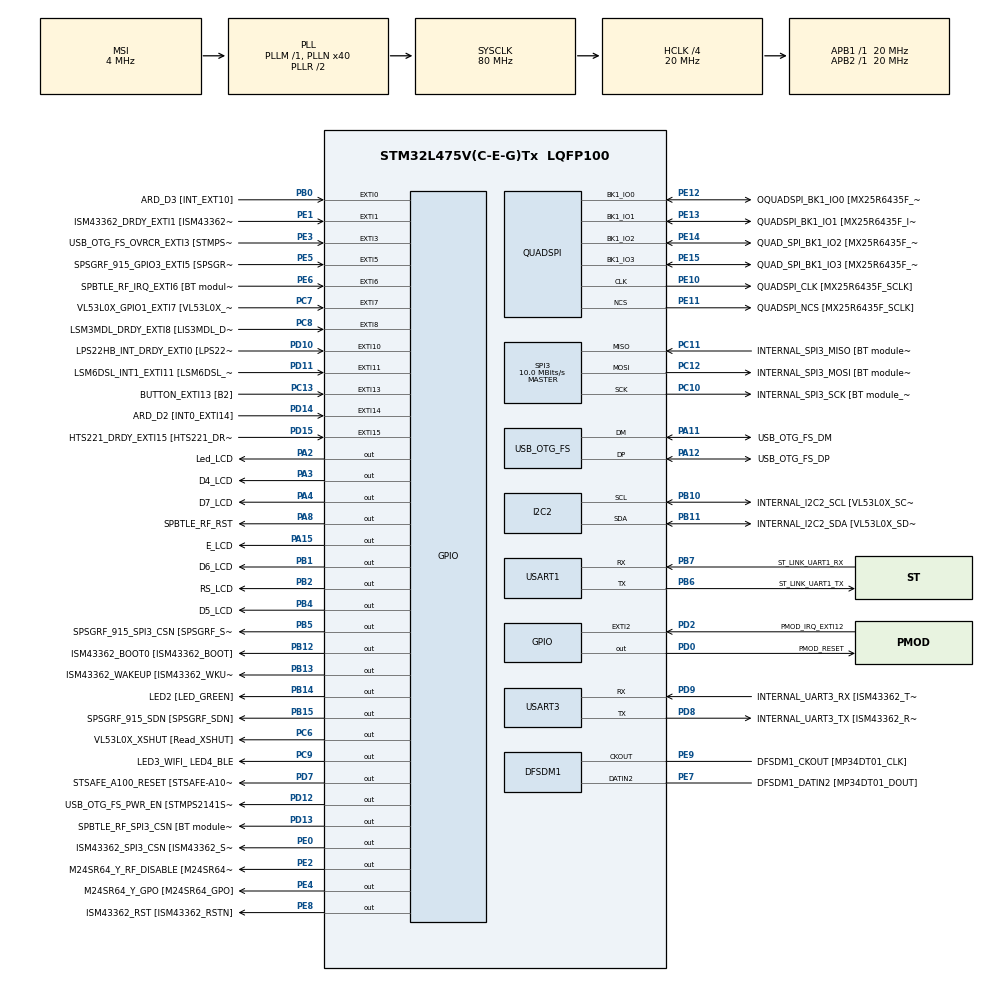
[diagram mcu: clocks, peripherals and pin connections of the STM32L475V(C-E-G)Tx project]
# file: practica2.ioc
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I2C2.Timing=0x00604E6E
Mcu.Family=STM32L4
Mcu.Name=STM32L475V(C-E-G)Tx
Mcu.Package=LQFP100
NVIC.EXTI15_10_IRQn=true\:0\:0\:false\:false\:true\:true\:true\:true
NVIC.EXTI9_5_IRQn=true\:0\:0\:false\:false\:true\:true\:true\:true
NVIC.PriorityGroup=NVIC_PRIORITYGROUP_4
PA0.GPIO_Label=ARD_D1 [UART4_TX]
PA0.Signal=UART4_TX
PA1.GPIO_Label=ARD_D0 [UART4_RX]
PA1.Signal=UART4_RX
PA10.GPIO_Label=USB_OTG_FS_ID
PA10.Signal=USB_OTG_FS_ID
PA11.GPIO_Label=USB_OTG_FS_DM
PA11.Mode=Device_Only
PA11.Signal=USB_OTG_FS_DM
PA12.GPIO_Label=USB_OTG_FS_DP
PA12.Mode=Device_Only
PA12.Signal=USB_OTG_FS_DP
PA13\ (JTMS-SWDIO).GPIO_Label=SYS_JTMS_SWDIO
PA13\ (JTMS-SWDIO).Mode=Serial_Wire
PA13\ (JTMS-SWDIO).Signal=SYS_JTMS-SWDIO
PA14\ (JTCK-SWCLK).GPIO_Label=SYS_JTCK_SWCLK
PA14\ (JTCK-SWCLK).Mode=Serial_Wire
PA14\ (JTCK-SWCLK).Signal=SYS_JTCK-SWCLK
PA15\ (JTDI).GPIO_Label=E_LCD
PA15\ (JTDI).Signal=GPIO_Output
PA2.GPIO_Label=Led_LCD
PA2.Signal=GPIO_Output
PA3.GPIO_Label=D4_LCD
PA3.Signal=GPIO_Output
PA4.GPIO_Label=D7_LCD
PA4.Signal=GPIO_Output
PA5.GPIO_Label=ARD_D13 [SPI1_SCK]
PA5.Signal=SPI1_SCK
PA6.GPIO_Label=ARD_D12 [SPI1_MISO]
PA6.Signal=SPI1_MISO
PA7.GPIO_Label=ARD_D11 [SPI1_MOSI]
PA7.Signal=SPI1_MOSI
PA8.GPIO_Label=SPBTLE_RF_RST
PA8.Signal=GPIO_Output
PA9.GPIO_Label=USB_OTG_FS_VBUS [STMPS2141STR_OUT]
PA9.Signal=USB_OTG_FS_VBUS
PB0.GPIO_Label=ARD_D3 [INT_EXT10]
PB0.Signal=GPXTI0
PB1.GPIO_Label=D6_LCD
PB1.Signal=GPIO_Output
PB10.GPIO_Label=INTERNAL_I2C2_SCL [VL53L0X_SCL]
PB10.GPIO_Pu=GPIO_PULLUP
PB10.Mode=I2C
PB10.Signal=I2C2_SCL
PB11.GPIO_Label=INTERNAL_I2C2_SDA [VL53L0X_SDA]
PB11.GPIO_Pu=GPIO_PULLUP
PB11.Mode=I2C
PB11.Signal=I2C2_SDA
PB12.GPIO_Label=ISM43362_BOOT0 [ISM43362_BOOT]
PB12.Signal=GPIO_Output
PB13.GPIO_Label=ISM43362_WAKEUP [ISM43362_WKUP]
PB13.Signal=GPIO_Output
PB14.GPIO_Label=LED2 [LED_GREEN]
PB14.Signal=GPIO_Output
PB15.GPIO_Label=SPSGRF_915_SDN [SPSGRF_SDN]
PB15.Signal=GPIO_Output
PB2.GPIO_Label=RS_LCD
PB2.Signal=GPIO_Output
PB3\ (JTDO-TRACESWO).GPIO_Label=SYS_JTD0_SWO
PB3\ (JTDO-TRACESWO).Signal=SYS_JTDO-SWO
PB4\ (NJTRST).GPIO_Label=D5_LCD
PB4\ (NJTRST).Signal=GPIO_Output
PB5.GPIO_Label=SPSGRF_915_SPI3_CSN [SPSGRF_SPI_CS]
PB5.PinState=GPIO_PIN_SET
PB5.Signal=GPIO_Output
PB6.GPIO_Label=ST_LINK_UART1_TX
PB6.Mode=Asynchronous
PB6.Signal=USART1_TX
PB7.GPIO_Label=ST_LINK_UART1_RX
PB7.Mode=Asynchronous
PB7.Signal=USART1_RX
PB8.GPIO_Label=ARD_D15 [I2C1_SCL]
PB8.Signal=I2C1_SCL
PB9.GPIO_Label=ARD_D14 [I2C1_SDA]
PB9.Signal=I2C1_SDA
PC0.GPIO_Label=ARD_A5 [ADC]
PC0.Signal=ADCx_IN1
PC1.GPIO_Label=ARD_A4 [ADC]
PC1.Signal=ADCx_IN2
PC10.GPIO_Label=INTERNAL_SPI3_SCK [BT module_SPI_SCLK] [ISM43362_SCK]
PC10.Mode=Full_Duplex_Master
PC10.Signal=SPI3_SCK
PC11.GPIO_Label=INTERNAL_SPI3_MISO [BT module_SPI_MISO] [ISM43362_MISO]
PC11.Mode=Full_Duplex_Master
PC11.Signal=SPI3_MISO
PC12.GPIO_Label=INTERNAL_SPI3_MOSI [BT module_SPI_MOSI] [ISM43362_MOSI]
PC12.Mode=Full_Duplex_Master
PC12.Signal=SPI3_MOSI
PC13.GPIO_Label=BUTTON_EXTI13 [B2]
PC13.GPIO_ModeDefaultEXTI=GPIO_MODE_IT_FALLING
PC13.Signal=GPXTI13
PC14-OSC32_IN\ (PC14).Mode=LSE-External-Oscillator
PC14-OSC32_IN\ (PC14).Signal=RCC_OSC32_IN
PC15-OSC32_OUT\ (PC15).Mode=LSE-External-Oscillator
PC15-OSC32_OUT\ (PC15).Signal=RCC_OSC32_OUT
PC2.GPIO_Label=ARD_A3 [ADC]
PC2.Signal=ADCx_IN3
PC3.GPIO_Label=ARD_A2 [ADC]
PC3.Signal=ADCx_IN4
PC4.GPIO_Label=ARD_A1 [ADC]
PC4.Signal=ADCx_IN13
PC5.GPIO_Label=ARD_A0 [ADC]
PC5.Signal=ADCx_IN14
PC6.GPIO_Label=VL53L0X_XSHUT [Read_XSHUT]
PC6.Signal=GPIO_Output
PC7.GPIO_Label=VL53L0X_GPIO1_EXTI7 [VL53L0X_GPIO1]
PC7.Signal=GPXTI7
PC8.GPIO_Label=LSM3MDL_DRDY_EXTI8 [LIS3MDL_DRDY]
PC8.Signal=GPXTI8
PC9.GPIO_Label=LED3_WIFI_ LED4_BLE
PC9.Signal=GPIO_Output
PD0.GPIO_Label=PMOD_RESET
PD0.Signal=GPIO_Output
PD1.GPIO_Label=PMOD_SPI2_SCK
PD1.Signal=SPI2_SCK
PD10.GPIO_Label=LPS22HB_INT_DRDY_EXTI0 [LPS22HB_INT_DRDY] 
PD10.Signal=GPXTI10
PD11.GPIO_Label=LSM6DSL_INT1_EXTI11 [LSM6DSL_INT1]
PD11.Signal=GPXTI11
PD12.GPIO_Label=USB_OTG_FS_PWR_EN [STMPS2141STR_EN]
PD12.Signal=GPIO_Output
PD13.GPIO_Label=SPBTLE_RF_SPI3_CSN [BT module_SPI_CS]
PD13.PinState=GPIO_PIN_SET
PD13.Signal=GPIO_Output
PD14.GPIO_Label=ARD_D2 [INT0_EXTI14]
PD14.Signal=GPXTI14
PD15.GPIO_Label=HTS221_DRDY_EXTI15 [HTS221_DRDY]
PD15.Signal=GPXTI15
PD2.GPIO_Label=PMOD_IRQ_EXTI12
PD2.Signal=GPXTI2
PD3.GPIO_Label=PMOD_UART2_CTS
PD3.Signal=USART2_CTS
PD4.GPIO_Label=PMOD_UART2_RTS
PD4.Signal=USART2_RTS
PD5.GPIO_Label=PMOD_UART2_TX
PD5.Signal=USART2_TX
PD6.GPIO_Label=PMOD_UART2_RX
PD6.Signal=USART2_RX
PD7.GPIO_Label=STSAFE_A100_RESET [STSAFE-A100_RESET]
PD7.Signal=GPIO_Output
PD8.GPIO_Label=INTERNAL_UART3_TX [ISM43362_RX]
PD8.Mode=Asynchronous
PD8.Signal=USART3_TX
PD9.GPIO_Label=INTERNAL_UART3_RX [ISM43362_TX]
PD9.Mode=Asynchronous
PD9.Signal=USART3_RX
PE0.GPIO_Label=ISM43362_SPI3_CSN [ISM43362_SSN]
PE0.PinState=GPIO_PIN_SET
PE0.Signal=GPIO_Output
PE1.GPIO_Label=ISM43362_DRDY_EXTI1 [ISM43362_DATARDY]
PE1.Signal=GPXTI1
PE10.GPIO_Label=QUADSPI_CLK [MX25R6435F_SCLK]
PE10.Mode=Single Bank
PE10.Signal=QUADSPI_CLK
PE11.GPIO_Label=QUADSPI_NCS [MX25R6435F_SCLK]
PE11.Mode=Single Bank
PE11.Signal=QUADSPI_NCS
PE12.GPIO_Label=OQUADSPI_BK1_IO0 [MX25R6435F_IO0]
PE12.Mode=Single Bank
PE12.Signal=QUADSPI_BK1_IO0
PE13.GPIO_Label=QUADSPI_BK1_IO1 [MX25R6435F_IO1]
PE13.Mode=Single Bank
PE13.Signal=QUADSPI_BK1_IO1
PE14.GPIO_Label=QUAD_SPI_BK1_IO2 [MX25R6435F_IO2]
PE14.Mode=Single Bank
PE14.Signal=QUADSPI_BK1_IO2
PE15.GPIO_Label=QUAD_SPI_BK1_IO3 [MX25R6435F_IO3]
PE15.Mode=Single Bank
PE15.Signal=QUADSPI_BK1_IO3
PE2.GPIO_Label=M24SR64_Y_RF_DISABLE [M24SR64_RFDIS]
PE2.Signal=GPIO_Output
PE3.GPIO_Label=USB_OTG_FS_OVRCR_EXTI3 [STMPS2141STR_FAULT]
PE3.Signal=GPXTI3
PE4.GPIO_Label=M24SR64_Y_GPO [M24SR64_GPO]
PE4.Signal=GPIO_Output
PE5.GPIO_Label=SPSGRF_915_GPIO3_EXTI5 [SPSGRF_GPIO_3]
PE5.Signal=GPXTI5
PE6.GPIO_Label=SPBTLE_RF_IRQ_EXTI6 [BT module_SPI_IRQ]
PE6.Signal=GPXTI6
PE7.GPIO_Label=DFSDM1_DATIN2 [MP34DT01_DOUT]
PE7.Signal=S_DATAIN2DFSDM1
PE8.GPIO_Label=ISM43362_RST [ISM43362_RSTN]
PE8.Signal=GPIO_Output
PE9.GPIO_Label=DFSDM1_CKOUT [MP34DT01_CLK]
PE9.Signal=S_CKOUTDFSDM1
ProjectManager.HeapSize=0x200
ProjectManager.StackSize=0x400
ProjectManager.TargetToolchain=STM32CubeIDE
QUADSPI.ClockPrescaler=2
QUADSPI.FifoThreshold=4
QUADSPI.FlashSize=23
QUADSPI.SampleShifting=QSPI_SAMPLE_SHIFTING_HALFCYCLE
RCC.ADCFreq_Value=48000000
RCC.AHBCLKDivider=RCC_SYSCLK_DIV4
RCC.AHBFreq_Value=20000000
RCC.APB1Freq_Value=20000000
RCC.APB1TimFreq_Value=20000000
RCC.APB2Freq_Value=20000000
RCC.APB2TimFreq_Value=20000000
RCC.CortexFreq_Value=20000000
RCC.HCLKFreq_Value=20000000
RCC.HSE_VALUE=8000000
RCC.HSI_VALUE=16000000
RCC.MSI_VALUE=4000000
RCC.PLLN=40
RCC.PLLSAI1N=24
RCC.SYSCLKFreq_VALUE=80000000
RCC.SYSCLKSource=RCC_SYSCLKSOURCE_PLLCLK
RCC.USBFreq_Value=48000000
RCC.VCOOutputFreq_Value=160000000
SH.ADCx_IN1.0=ADC1_IN1
SH.ADCx_IN13.0=ADC1_IN13
SH.ADCx_IN14.0=ADC1_IN14
SH.ADCx_IN2.0=ADC1_IN2
SH.ADCx_IN3.0=ADC1_IN3
SH.ADCx_IN4.0=ADC1_IN4
SH.S_CKOUTDFSDM1.0=DFSDM1_CKOUT,CKOUT
SH.S_CKOUTDFSDM1.1=DFSDM1_CKOUT,PDM_SPI_Input_from_ch12_and_Internal_Clock
SH.S_DATAIN2DFSDM1.0=DFSDM1_DATIN2,PDM_SPI_Input_from_ch12_and_Internal_Clock
SPI3.CalculateBaudRate=10.0 MBits/s
SPI3.Direction=SPI_DIRECTION_2LINES
SPI3.Mode=SPI_MODE_MASTER
SPI3.VirtualType=VM_MASTER
USART1.VirtualMode-Asynchronous=VM_ASYNC
USART3.VirtualMode-Asynchronous=VM_ASYNC
USB_OTG_FS.VirtualMode=Device_Only
board=B-L475E-IOT01A1

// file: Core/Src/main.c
/* USER CODE BEGIN Header */
/**
  ******************************************************************************
  * @file           : main.c
  * @brief          : Main program body
  ******************************************************************************
  * @attention
  *
  * Copyright (c) 2025 STMicroelectronics.
  * All rights reserved.
  *
  * This software is licensed under terms that can be found in the LICENSE file
  * in the root directory of this software component.
  * If no LICENSE file comes with this software, it is provided AS-IS.
  *
  ******************************************************************************
  */
/* USER CODE END Header */
#include "main.h"

/* USER CODE BEGIN Includes */
#include "hd44780.h"
/* USER CODE END Includes */

DFSDM_Channel_HandleTypeDef hdfsdm1_channel1;

I2C_HandleTypeDef hi2c2;

QSPI_HandleTypeDef hqspi;

SPI_HandleTypeDef hspi3;

UART_HandleTypeDef huart1;
UART_HandleTypeDef huart3;

PCD_HandleTypeDef hpcd_USB_OTG_FS;

void SystemClock_Config(void);
static void MX_GPIO_Init(void);
static void MX_DFSDM1_Init(void);
static void MX_I2C2_Init(void);
static void MX_QUADSPI_Init(void);
static void MX_SPI3_Init(void);
static void MX_USART1_UART_Init(void);
static void MX_USART3_UART_Init(void);
static void MX_USB_OTG_FS_PCD_Init(void);

int main(void)
{

  /* MCU Configuration--------------------------------------------------------*/

  /* Reset of all peripherals, Initializes the Flash interface and the Systick. */
  HAL_Init();

  /* Configure the system clock */
  SystemClock_Config();

  /* Initialize all configured peripherals */
  MX_GPIO_Init();
  MX_DFSDM1_Init();
  MX_I2C2_Init();
  MX_QUADSPI_Init();
  MX_SPI3_Init();
  MX_USART1_UART_Init();
  MX_USART3_UART_Init();
  MX_USB_OTG_FS_PCD_Init();
  /* USER CODE BEGIN 2 */
 LL_GPIO_WriteOutputPort(GPIOA, Led_LCD_Pin);
 lcd_reset();
 lcd_display_settings(1,0,0);
 lcd_clear();

  /* USER CODE END 2 */

  /* Infinite loop */
  /* USER CODE BEGIN WHILE */
void snake_down2(int i){
	moveToXY(0, i);
	lcd_write(3, 1);
	moveToXY(0, i+1);
	lcd_write(1, 1);
	moveToXY(0, i+2);
	lcd_write(0, 1);
	moveToXY(0, i+3);
	lcd_write(1, 1);
	moveToXY(0, i+4);
	lcd_write(2, 1);
}

void snake_up2(int i){
	moveToXY(0, i);
	lcd_write(3, 1);
	moveToXY(0, i+1);
	lcd_write(0, 1);
	moveToXY(0, i+2);
	lcd_write(1, 1);
	moveToXY(0, i+3);
	lcd_write(0, 1);
	moveToXY(0, i+4);
	lcd_write(2, 1);
}

 lcd_cgram_address(0);
  lcd_write(0x1F, 1);
  lcd_write(0x00, 1);
  lcd_write(0x06, 1);
  lcd_write(0x08, 1);
  lcd_write(0x06, 1);
  lcd_write(0x00, 1);
  lcd_write(0x1F, 1);
  lcd_write(0x00, 1);

  lcd_cgram_address(8);
   lcd_write(0x00, 1);
   lcd_write(0x1F, 1);
   lcd_write(0x00, 1);
   lcd_write(0x06, 1);
   lcd_write(0x08, 1);
   lcd_write(0x06, 1);
   lcd_write(0x00, 1);
   lcd_write(0x1F, 1);

   lcd_cgram_address(16);
    lcd_write(0x1e, 1);
    lcd_write(0x01, 1);
    lcd_write(0x05, 1);
    lcd_write(0x05, 1);
    lcd_write(0x01, 1);
    lcd_write(0x01, 1);
    lcd_write(0x1e, 1);
    lcd_write(0x00, 1);

    lcd_cgram_address(24);
    lcd_write(0x07, 1);
    lcd_write(0x08, 1);
    lcd_write(0x10, 1);
    lcd_write(0x10, 1);
    lcd_write(0x10, 1);
    lcd_write(0x10, 1);
    lcd_write(0x08, 1);
    lcd_write(0x07, 1);

//	lcd_cgram_address(0); // se selecciona la dirección 0 de la CGRAM, patrón con código 0
//	lcd_write(0x15, 1); //se va cargando con los bytes del patrón de cada fila de la CGRAM
//	lcd_write(0x15, 1);
//	lcd_write(0xe, 1);
//	lcd_write(0x4, 1);
//	lcd_write(0x4, 1);
//	lcd_write(0xa, 1);
//	lcd_write(0x11, 1);
//	lcd_write(0x00, 1);
//
//	lcd_cgram_address(8); //se selecciona la dirección 8 de la CGRAM, patrón con código 1
//	lcd_write(0x4, 1); // se va cargando con los bytes del patrón de cada fila de la CGRAM
//	lcd_write(0x4, 1);
//	lcd_write(0xe, 1);
//	lcd_write(0x15, 1);
//	lcd_write(0x15, 1);
//	lcd_write(0xa, 1);
//	lcd_write(0xa, 1);
//	lcd_write(0x00, 1);

   lcd_display_address(0);

  while (1)
  {

    /* USER CODE END WHILE */

    /* USER CODE BEGIN 3 */
	  for(int l = 0; l<32; l++){

		  lcd_clear();
		  snake_up2(l);
		  LL_mDelay(300);
		  lcd_clear();
		  snake_down2(l);
		  LL_mDelay(300);
	  }

//	  contador++;
//	  if(contador==10 && estado_mu==0){
//		  moveToXY(1,7); //sitúa el cursor en la posición fila 1 columna 7, primer muñeco
//		  lcd_write(0,1); //escribe el nuevo patrón 0 en la DDRAM
//		  moveToXY(1,8); //sitúa el cursor en la posición fila 1 columna 7, segundo muñeco
//		  lcd_write(0,1);
//		  contador=0;
//		  estado_mu=1;
//	  }
//	  if(contador==10 && estado_mu==1){
//	  moveToXY(1,7);
//	  lcd_write(1,1); //escribe el nuevo patrón 0 en la DDRAM
//	  moveToXY(1,8);
//	  lcd_write(1,1);
//	  contador=0;
//	  estado_mu=0;
//	  }
//	  //TAREA B
////	  if(LL_GPIO_IsInputPinSet(BUTTON_EXTI13_GPIO_Port, BUTTON_EXTI13_Pin)){
////	  LL_GPIO_SetOutputPin(LED2_GPIO_Port, LED2_Pin);
////	  }else{
////	  LL_GPIO_ResetOutputPin(LED2_GPIO_Port, LED2_Pin);
////	  }
//	  HAL_Delay(100);

  }
  /* USER CODE END 3 */
}

void SystemClock_Config(void)
{
  RCC_OscInitTypeDef RCC_OscInitStruct = {0};
  RCC_ClkInitTypeDef RCC_ClkInitStruct = {0};

  /** Configure the main internal regulator output voltage
  */
  if (HAL_PWREx_ControlVoltageScaling(PWR_REGULATOR_VOLTAGE_SCALE1) != HAL_OK)
  {
    Error_Handler();
  }

  /** Configure LSE Drive Capability
  */
  HAL_PWR_EnableBkUpAccess();
  __HAL_RCC_LSEDRIVE_CONFIG(RCC_LSEDRIVE_LOW);

  /** Initializes the RCC Oscillators according to the specified parameters
  * in the RCC_OscInitTypeDef structure.
  */
  RCC_OscInitStruct.OscillatorType = RCC_OSCILLATORTYPE_LSE|RCC_OSCILLATORTYPE_MSI;
  RCC_OscInitStruct.LSEState = RCC_LSE_ON;
  RCC_OscInitStruct.MSIState = RCC_MSI_ON;
  RCC_OscInitStruct.MSICalibrationValue = 0;
  RCC_OscInitStruct.MSIClockRange = RCC_MSIRANGE_6;
  RCC_OscInitStruct.PLL.PLLState = RCC_PLL_ON;
  RCC_OscInitStruct.PLL.PLLSource = RCC_PLLSOURCE_MSI;
  RCC_OscInitStruct.PLL.PLLM = 1;
  RCC_OscInitStruct.PLL.PLLN = 40;
  RCC_OscInitStruct.PLL.PLLP = RCC_PLLP_DIV7;
  RCC_OscInitStruct.PLL.PLLQ = RCC_PLLQ_DIV2;
  RCC_OscInitStruct.PLL.PLLR = RCC_PLLR_DIV2;
  if (HAL_RCC_OscConfig(&RCC_OscInitStruct) != HAL_OK)
  {
    Error_Handler();
  }

  /** Initializes the CPU, AHB and APB buses clocks
  */
  RCC_ClkInitStruct.ClockType = RCC_CLOCKTYPE_HCLK|RCC_CLOCKTYPE_SYSCLK
                              |RCC_CLOCKTYPE_PCLK1|RCC_CLOCKTYPE_PCLK2;
  RCC_ClkInitStruct.SYSCLKSource = RCC_SYSCLKSOURCE_PLLCLK;
  RCC_ClkInitStruct.AHBCLKDivider = RCC_SYSCLK_DIV4;
  RCC_ClkInitStruct.APB1CLKDivider = RCC_HCLK_DIV1;
  RCC_ClkInitStruct.APB2CLKDivider = RCC_HCLK_DIV1;

  if (HAL_RCC_ClockConfig(&RCC_ClkInitStruct, FLASH_LATENCY_1) != HAL_OK)
  {
    Error_Handler();
  }

  /** Enable MSI Auto calibration
  */
  HAL_RCCEx_EnableMSIPLLMode();
}

static void MX_DFSDM1_Init(void)
{

  hdfsdm1_channel1.Instance = DFSDM1_Channel1;
  hdfsdm1_channel1.Init.OutputClock.Activation = ENABLE;
  hdfsdm1_channel1.Init.OutputClock.Selection = DFSDM_CHANNEL_OUTPUT_CLOCK_SYSTEM;
  hdfsdm1_channel1.Init.OutputClock.Divider = 2;
  hdfsdm1_channel1.Init.Input.Multiplexer = DFSDM_CHANNEL_EXTERNAL_INPUTS;
  hdfsdm1_channel1.Init.Input.DataPacking = DFSDM_CHANNEL_STANDARD_MODE;
  hdfsdm1_channel1.Init.Input.Pins = DFSDM_CHANNEL_FOLLOWING_CHANNEL_PINS;
  hdfsdm1_channel1.Init.SerialInterface.Type = DFSDM_CHANNEL_SPI_RISING;
  hdfsdm1_channel1.Init.SerialInterface.SpiClock = DFSDM_CHANNEL_SPI_CLOCK_INTERNAL;
  hdfsdm1_channel1.Init.Awd.FilterOrder = DFSDM_CHANNEL_FASTSINC_ORDER;
  hdfsdm1_channel1.Init.Awd.Oversampling = 1;
  hdfsdm1_channel1.Init.Offset = 0;
  hdfsdm1_channel1.Init.RightBitShift = 0x00;
  if (HAL_DFSDM_ChannelInit(&hdfsdm1_channel1) != HAL_OK)
  {
    Error_Handler();
  }

}

static void MX_I2C2_Init(void)
{

  hi2c2.Instance = I2C2;
  hi2c2.Init.Timing = 0x00604E6E;
  hi2c2.Init.OwnAddress1 = 0;
  hi2c2.Init.AddressingMode = I2C_ADDRESSINGMODE_7BIT;
  hi2c2.Init.DualAddressMode = I2C_DUALADDRESS_DISABLE;
  hi2c2.Init.OwnAddress2 = 0;
  hi2c2.Init.OwnAddress2Masks = I2C_OA2_NOMASK;
  hi2c2.Init.GeneralCallMode = I2C_GENERALCALL_DISABLE;
  hi2c2.Init.NoStretchMode = I2C_NOSTRETCH_DISABLE;
  if (HAL_I2C_Init(&hi2c2) != HAL_OK)
  {
    Error_Handler();
  }

  /** Configure Analogue filter
  */
  if (HAL_I2CEx_ConfigAnalogFilter(&hi2c2, I2C_ANALOGFILTER_ENABLE) != HAL_OK)
  {
    Error_Handler();
  }

  /** Configure Digital filter
  */
  if (HAL_I2CEx_ConfigDigitalFilter(&hi2c2, 0) != HAL_OK)
  {
    Error_Handler();
  }

}

static void MX_QUADSPI_Init(void)
{

  /* QUADSPI parameter configuration*/
  hqspi.Instance = QUADSPI;
  hqspi.Init.ClockPrescaler = 2;
  hqspi.Init.FifoThreshold = 4;
  hqspi.Init.SampleShifting = QSPI_SAMPLE_SHIFTING_HALFCYCLE;
  hqspi.Init.FlashSize = 23;
  hqspi.Init.ChipSelectHighTime = QSPI_CS_HIGH_TIME_1_CYCLE;
  hqspi.Init.ClockMode = QSPI_CLOCK_MODE_0;
  if (HAL_QSPI_Init(&hqspi) != HAL_OK)
  {
    Error_Handler();
  }

}

static void MX_SPI3_Init(void)
{

  /* SPI3 parameter configuration*/
  hspi3.Instance = SPI3;
  hspi3.Init.Mode = SPI_MODE_MASTER;
  hspi3.Init.Direction = SPI_DIRECTION_2LINES;
  hspi3.Init.DataSize = SPI_DATASIZE_4BIT;
  hspi3.Init.CLKPolarity = SPI_POLARITY_LOW;
  hspi3.Init.CLKPhase = SPI_PHASE_1EDGE;
  hspi3.Init.NSS = SPI_NSS_SOFT;
  hspi3.Init.BaudRatePrescaler = SPI_BAUDRATEPRESCALER_2;
  hspi3.Init.FirstBit = SPI_FIRSTBIT_MSB;
  hspi3.Init.TIMode = SPI_TIMODE_DISABLE;
  hspi3.Init.CRCCalculation = SPI_CRCCALCULATION_DISABLE;
  hspi3.Init.CRCPolynomial = 7;
  hspi3.Init.CRCLength = SPI_CRC_LENGTH_DATASIZE;
  hspi3.Init.NSSPMode = SPI_NSS_PULSE_ENABLE;
  if (HAL_SPI_Init(&hspi3) != HAL_OK)
  {
    Error_Handler();
  }

}

static void MX_USART1_UART_Init(void)
{

  huart1.Instance = USART1;
  huart1.Init.BaudRate = 115200;
  huart1.Init.WordLength = UART_WORDLENGTH_8B;
  huart1.Init.StopBits = UART_STOPBITS_1;
  huart1.Init.Parity = UART_PARITY_NONE;
  huart1.Init.Mode = UART_MODE_TX_RX;
  huart1.Init.HwFlowCtl = UART_HWCONTROL_NONE;
  huart1.Init.OverSampling = UART_OVERSAMPLING_16;
  huart1.Init.OneBitSampling = UART_ONE_BIT_SAMPLE_DISABLE;
  huart1.AdvancedInit.AdvFeatureInit = UART_ADVFEATURE_NO_INIT;
  if (HAL_UART_Init(&huart1) != HAL_OK)
  {
    Error_Handler();
  }

}

static void MX_USART3_UART_Init(void)
{

  huart3.Instance = USART3;
  huart3.Init.BaudRate = 115200;
  huart3.Init.WordLength = UART_WORDLENGTH_8B;
  huart3.Init.StopBits = UART_STOPBITS_1;
  huart3.Init.Parity = UART_PARITY_NONE;
  huart3.Init.Mode = UART_MODE_TX_RX;
  huart3.Init.HwFlowCtl = UART_HWCONTROL_NONE;
  huart3.Init.OverSampling = UART_OVERSAMPLING_16;
  huart3.Init.OneBitSampling = UART_ONE_BIT_SAMPLE_DISABLE;
  huart3.AdvancedInit.AdvFeatureInit = UART_ADVFEATURE_NO_INIT;
  if (HAL_UART_Init(&huart3) != HAL_OK)
  {
    Error_Handler();
  }

}

static void MX_USB_OTG_FS_PCD_Init(void)
{

  hpcd_USB_OTG_FS.Instance = USB_OTG_FS;
  hpcd_USB_OTG_FS.Init.dev_endpoints = 6;
  hpcd_USB_OTG_FS.Init.speed = PCD_SPEED_FULL;
  hpcd_USB_OTG_FS.Init.phy_itface = PCD_PHY_EMBEDDED;
  hpcd_USB_OTG_FS.Init.Sof_enable = DISABLE;
  hpcd_USB_OTG_FS.Init.low_power_enable = DISABLE;
  hpcd_USB_OTG_FS.Init.lpm_enable = DISABLE;
  hpcd_USB_OTG_FS.Init.battery_charging_enable = DISABLE;
  hpcd_USB_OTG_FS.Init.use_dedicated_ep1 = DISABLE;
  hpcd_USB_OTG_FS.Init.vbus_sensing_enable = DISABLE;
  if (HAL_PCD_Init(&hpcd_USB_OTG_FS) != HAL_OK)
  {
    Error_Handler();
  }

}

static void MX_GPIO_Init(void)
{
  LL_EXTI_InitTypeDef EXTI_InitStruct = {0};
  LL_GPIO_InitTypeDef GPIO_InitStruct = {0};

  /* GPIO Ports Clock Enable */
  LL_AHB2_GRP1_EnableClock(LL_AHB2_GRP1_PERIPH_GPIOE);
  LL_AHB2_GRP1_EnableClock(LL_AHB2_GRP1_PERIPH_GPIOC);
  LL_AHB2_GRP1_EnableClock(LL_AHB2_GRP1_PERIPH_GPIOA);
  LL_AHB2_GRP1_EnableClock(LL_AHB2_GRP1_PERIPH_GPIOB);
  LL_AHB2_GRP1_EnableClock(LL_AHB2_GRP1_PERIPH_GPIOD);

  /**/
  LL_GPIO_ResetOutputPin(GPIOE, M24SR64_Y_RF_DISABLE_Pin|M24SR64_Y_GPO_Pin|ISM43362_RST_Pin);

  /**/
  LL_GPIO_ResetOutputPin(GPIOA, Led_LCD_Pin|D4_LCD_Pin|D7_LCD_Pin|SPBTLE_RF_RST_Pin
                          |E_LCD_Pin);

  /**/
  LL_GPIO_ResetOutputPin(GPIOB, D6_LCD_Pin|RS_LCD_Pin|ISM43362_BOOT0_Pin|ISM43362_WAKEUP_Pin
                          |LED2_Pin|SPSGRF_915_SDN_Pin|D5_LCD_Pin);

  /**/
  LL_GPIO_ResetOutputPin(GPIOD, USB_OTG_FS_PWR_EN_Pin|PMOD_RESET_Pin|STSAFE_A100_RESET_Pin);

  /**/
  LL_GPIO_ResetOutputPin(GPIOC, VL53L0X_XSHUT_Pin|LED3_WIFI__LED4_BLE_Pin);

  /**/
  LL_GPIO_SetOutputPin(SPBTLE_RF_SPI3_CSN_GPIO_Port, SPBTLE_RF_SPI3_CSN_Pin);

  /**/
  LL_GPIO_SetOutputPin(SPSGRF_915_SPI3_CSN_GPIO_Port, SPSGRF_915_SPI3_CSN_Pin);

  /**/
  LL_GPIO_SetOutputPin(ISM43362_SPI3_CSN_GPIO_Port, ISM43362_SPI3_CSN_Pin);

  /**/
  GPIO_InitStruct.Pin = M24SR64_Y_RF_DISABLE_Pin|M24SR64_Y_GPO_Pin|ISM43362_RST_Pin|ISM43362_SPI3_CSN_Pin;
  GPIO_InitStruct.Mode = LL_GPIO_MODE_OUTPUT;
  GPIO_InitStruct.Speed = LL_GPIO_SPEED_FREQ_LOW;
  GPIO_InitStruct.OutputType = LL_GPIO_OUTPUT_PUSHPULL;
  GPIO_InitStruct.Pull = LL_GPIO_PULL_NO;
  LL_GPIO_Init(GPIOE, &GPIO_InitStruct);

  /**/
  GPIO_InitStruct.Pin = ARD_A5_Pin|ARD_A4_Pin|ARD_A3_Pin|ARD_A2_Pin
                          |ARD_A1_Pin|ARD_A0_Pin;
  GPIO_InitStruct.Mode = LL_GPIO_MODE_ANALOG;
  GPIO_InitStruct.Pull = LL_GPIO_PULL_NO;
  LL_GPIO_Init(GPIOC, &GPIO_InitStruct);

  /**/
  GPIO_InitStruct.Pin = ARD_D1_Pin|ARD_D0_Pin;
  GPIO_InitStruct.Mode = LL_GPIO_MODE_ALTERNATE;
  GPIO_InitStruct.Speed = LL_GPIO_SPEED_FREQ_VERY_HIGH;
  GPIO_InitStruct.OutputType = LL_GPIO_OUTPUT_PUSHPULL;
  GPIO_InitStruct.Pull = LL_GPIO_PULL_NO;
  GPIO_InitStruct.Alternate = LL_GPIO_AF_8;
  LL_GPIO_Init(GPIOA, &GPIO_InitStruct);

  /**/
  GPIO_InitStruct.Pin = Led_LCD_Pin|D4_LCD_Pin|D7_LCD_Pin|SPBTLE_RF_RST_Pin
                          |E_LCD_Pin;
  GPIO_InitStruct.Mode = LL_GPIO_MODE_OUTPUT;
  GPIO_InitStruct.Speed = LL_GPIO_SPEED_FREQ_LOW;
  GPIO_InitStruct.OutputType = LL_GPIO_OUTPUT_PUSHPULL;
  GPIO_InitStruct.Pull = LL_GPIO_PULL_NO;
  LL_GPIO_Init(GPIOA, &GPIO_InitStruct);

  /**/
  GPIO_InitStruct.Pin = ARD_D13_Pin|ARD_D12_Pin|ARD_D11_Pin;
  GPIO_InitStruct.Mode = LL_GPIO_MODE_ALTERNATE;
  GPIO_InitStruct.Speed = LL_GPIO_SPEED_FREQ_VERY_HIGH;
  GPIO_InitStruct.OutputType = LL_GPIO_OUTPUT_PUSHPULL;
  GPIO_InitStruct.Pull = LL_GPIO_PULL_NO;
  GPIO_InitStruct.Alternate = LL_GPIO_AF_5;
  LL_GPIO_Init(GPIOA, &GPIO_InitStruct);

  /**/
  GPIO_InitStruct.Pin = D6_LCD_Pin|RS_LCD_Pin|ISM43362_BOOT0_Pin|ISM43362_WAKEUP_Pin
                          |LED2_Pin|SPSGRF_915_SDN_Pin|D5_LCD_Pin|SPSGRF_915_SPI3_CSN_Pin;
  GPIO_InitStruct.Mode = LL_GPIO_MODE_OUTPUT;
  GPIO_InitStruct.Speed = LL_GPIO_SPEED_FREQ_LOW;
  GPIO_InitStruct.OutputType = LL_GPIO_OUTPUT_PUSHPULL;
  GPIO_InitStruct.Pull = LL_GPIO_PULL_NO;
  LL_GPIO_Init(GPIOB, &GPIO_InitStruct);

  /**/
  GPIO_InitStruct.Pin = USB_OTG_FS_PWR_EN_Pin|SPBTLE_RF_SPI3_CSN_Pin|PMOD_RESET_Pin|STSAFE_A100_RESET_Pin;
  GPIO_InitStruct.Mode = LL_GPIO_MODE_OUTPUT;
  GPIO_InitStruct.Speed = LL_GPIO_SPEED_FREQ_LOW;
  GPIO_InitStruct.OutputType = LL_GPIO_OUTPUT_PUSHPULL;
  GPIO_InitStruct.Pull = LL_GPIO_PULL_NO;
  LL_GPIO_Init(GPIOD, &GPIO_InitStruct);

  /**/
  GPIO_InitStruct.Pin = VL53L0X_XSHUT_Pin|LED3_WIFI__LED4_BLE_Pin;
  GPIO_InitStruct.Mode = LL_GPIO_MODE_OUTPUT;
  GPIO_InitStruct.Speed = LL_GPIO_SPEED_FREQ_LOW;
  GPIO_InitStruct.OutputType = LL_GPIO_OUTPUT_PUSHPULL;
  GPIO_InitStruct.Pull = LL_GPIO_PULL_NO;
  LL_GPIO_Init(GPIOC, &GPIO_InitStruct);

  /**/
  GPIO_InitStruct.Pin = PMOD_SPI2_SCK_Pin;
  GPIO_InitStruct.Mode = LL_GPIO_MODE_ALTERNATE;
  GPIO_InitStruct.Speed = LL_GPIO_SPEED_FREQ_VERY_HIGH;
  GPIO_InitStruct.OutputType = LL_GPIO_OUTPUT_PUSHPULL;
  GPIO_InitStruct.Pull = LL_GPIO_PULL_NO;
  GPIO_InitStruct.Alternate = LL_GPIO_AF_5;
  LL_GPIO_Init(PMOD_SPI2_SCK_GPIO_Port, &GPIO_InitStruct);

  /**/
  GPIO_InitStruct.Pin = PMOD_UART2_CTS_Pin|PMOD_UART2_RTS_Pin|PMOD_UART2_TX_Pin|PMOD_UART2_RX_Pin;
  GPIO_InitStruct.Mode = LL_GPIO_MODE_ALTERNATE;
  GPIO_InitStruct.Speed = LL_GPIO_SPEED_FREQ_VERY_HIGH;
  GPIO_InitStruct.OutputType = LL_GPIO_OUTPUT_PUSHPULL;
  GPIO_InitStruct.Pull = LL_GPIO_PULL_NO;
  GPIO_InitStruct.Alternate = LL_GPIO_AF_7;
  LL_GPIO_Init(GPIOD, &GPIO_InitStruct);

  /**/
  GPIO_InitStruct.Pin = ARD_D15_Pin|ARD_D14_Pin;
  GPIO_InitStruct.Mode = LL_GPIO_MODE_ALTERNATE;
  GPIO_InitStruct.Speed = LL_GPIO_SPEED_FREQ_VERY_HIGH;
  GPIO_InitStruct.OutputType = LL_GPIO_OUTPUT_OPENDRAIN;
  GPIO_InitStruct.Pull = LL_GPIO_PULL_NO;
  GPIO_InitStruct.Alternate = LL_GPIO_AF_4;
  LL_GPIO_Init(GPIOB, &GPIO_InitStruct);

  /**/
  LL_SYSCFG_SetEXTISource(LL_SYSCFG_EXTI_PORTE, LL_SYSCFG_EXTI_LINE3);

  /**/
  LL_SYSCFG_SetEXTISource(LL_SYSCFG_EXTI_PORTE, LL_SYSCFG_EXTI_LINE5);

  /**/
  LL_SYSCFG_SetEXTISource(LL_SYSCFG_EXTI_PORTE, LL_SYSCFG_EXTI_LINE6);

  /**/
  LL_SYSCFG_SetEXTISource(LL_SYSCFG_EXTI_PORTC, LL_SYSCFG_EXTI_LINE13);

  /**/
  LL_SYSCFG_SetEXTISource(LL_SYSCFG_EXTI_PORTB, LL_SYSCFG_EXTI_LINE0);

  /**/
  LL_SYSCFG_SetEXTISource(LL_SYSCFG_EXTI_PORTD, LL_SYSCFG_EXTI_LINE10);

  /**/
  LL_SYSCFG_SetEXTISource(LL_SYSCFG_EXTI_PORTD, LL_SYSCFG_EXTI_LINE11);

  /**/
  LL_SYSCFG_SetEXTISource(LL_SYSCFG_EXTI_PORTD, LL_SYSCFG_EXTI_LINE14);

  /**/
  LL_SYSCFG_SetEXTISource(LL_SYSCFG_EXTI_PORTD, LL_SYSCFG_EXTI_LINE15);

  /**/
  LL_SYSCFG_SetEXTISource(LL_SYSCFG_EXTI_PORTC, LL_SYSCFG_EXTI_LINE7);

  /**/
  LL_SYSCFG_SetEXTISource(LL_SYSCFG_EXTI_PORTC, LL_SYSCFG_EXTI_LINE8);

  /**/
  LL_SYSCFG_SetEXTISource(LL_SYSCFG_EXTI_PORTD, LL_SYSCFG_EXTI_LINE2);

  /**/
  LL_SYSCFG_SetEXTISource(LL_SYSCFG_EXTI_PORTE, LL_SYSCFG_EXTI_LINE1);

  /**/
  EXTI_InitStruct.Line_0_31 = LL_EXTI_LINE_3;
  EXTI_InitStruct.Line_32_63 = LL_EXTI_LINE_NONE;
  EXTI_InitStruct.LineCommand = ENABLE;
  EXTI_InitStruct.Mode = LL_EXTI_MODE_IT;
  EXTI_InitStruct.Trigger = LL_EXTI_TRIGGER_RISING;
  LL_EXTI_Init(&EXTI_InitStruct);

  /**/
  EXTI_InitStruct.Line_0_31 = LL_EXTI_LINE_5;
  EXTI_InitStruct.Line_32_63 = LL_EXTI_LINE_NONE;
  EXTI_InitStruct.LineCommand = ENABLE;
  EXTI_InitStruct.Mode = LL_EXTI_MODE_IT;
  EXTI_InitStruct.Trigger = LL_EXTI_TRIGGER_RISING;
  LL_EXTI_Init(&EXTI_InitStruct);

  /**/
  EXTI_InitStruct.Line_0_31 = LL_EXTI_LINE_6;
  EXTI_InitStruct.Line_32_63 = LL_EXTI_LINE_NONE;
  EXTI_InitStruct.LineCommand = ENABLE;
  EXTI_InitStruct.Mode = LL_EXTI_MODE_IT;
  EXTI_InitStruct.Trigger = LL_EXTI_TRIGGER_RISING;
  LL_EXTI_Init(&EXTI_InitStruct);

  /**/
  EXTI_InitStruct.Line_0_31 = LL_EXTI_LINE_13;
  EXTI_InitStruct.Line_32_63 = LL_EXTI_LINE_NONE;
  EXTI_InitStruct.LineCommand = ENABLE;
  EXTI_InitStruct.Mode = LL_EXTI_MODE_IT;
  EXTI_InitStruct.Trigger = LL_EXTI_TRIGGER_FALLING;
  LL_EXTI_Init(&EXTI_InitStruct);

  /**/
  EXTI_InitStruct.Line_0_31 = LL_EXTI_LINE_0;
  EXTI_InitStruct.Line_32_63 = LL_EXTI_LINE_NONE;
  EXTI_InitStruct.LineCommand = ENABLE;
  EXTI_InitStruct.Mode = LL_EXTI_MODE_IT;
  EXTI_InitStruct.Trigger = LL_EXTI_TRIGGER_RISING;
  LL_EXTI_Init(&EXTI_InitStruct);

  /**/
  EXTI_InitStruct.Line_0_31 = LL_EXTI_LINE_10;
  EXTI_InitStruct.Line_32_63 = LL_EXTI_LINE_NONE;
  EXTI_InitStruct.LineCommand = ENABLE;
  EXTI_InitStruct.Mode = LL_EXTI_MODE_IT;
  EXTI_InitStruct.Trigger = LL_EXTI_TRIGGER_RISING;
  LL_EXTI_Init(&EXTI_InitStruct);

  /**/
  EXTI_InitStruct.Line_0_31 = LL_EXTI_LINE_11;
  EXTI_InitStruct.Line_32_63 = LL_EXTI_LINE_NONE;
  EXTI_InitStruct.LineCommand = ENABLE;
  EXTI_InitStruct.Mode = LL_EXTI_MODE_IT;
  EXTI_InitStruct.Trigger = LL_EXTI_TRIGGER_RISING;
  LL_EXTI_Init(&EXTI_InitStruct);

  /**/
  EXTI_InitStruct.Line_0_31 = LL_EXTI_LINE_14;
  EXTI_InitStruct.Line_32_63 = LL_EXTI_LINE_NONE;
  EXTI_InitStruct.LineCommand = ENABLE;
  EXTI_InitStruct.Mode = LL_EXTI_MODE_IT;
  EXTI_InitStruct.Trigger = LL_EXTI_TRIGGER_RISING;
  LL_EXTI_Init(&EXTI_InitStruct);

  /**/
  EXTI_InitStruct.Line_0_31 = LL_EXTI_LINE_15;
  EXTI_InitStruct.Line_32_63 = LL_EXTI_LINE_NONE;
  EXTI_InitStruct.LineCommand = ENABLE;
  EXTI_InitStruct.Mode = LL_EXTI_MODE_IT;
  EXTI_InitStruct.Trigger = LL_EXTI_TRIGGER_RISING;
  LL_EXTI_Init(&EXTI_InitStruct);

  /**/
  EXTI_InitStruct.Line_0_31 = LL_EXTI_LINE_7;
  EXTI_InitStruct.Line_32_63 = LL_EXTI_LINE_NONE;
  EXTI_InitStruct.LineCommand = ENABLE;
  EXTI_InitStruct.Mode = LL_EXTI_MODE_IT;
  EXTI_InitStruct.Trigger = LL_EXTI_TRIGGER_RISING;
  LL_EXTI_Init(&EXTI_InitStruct);

  /**/
  EXTI_InitStruct.Line_0_31 = LL_EXTI_LINE_8;
  EXTI_InitStruct.Line_32_63 = LL_EXTI_LINE_NONE;
  EXTI_InitStruct.LineCommand = ENABLE;
  EXTI_InitStruct.Mode = LL_EXTI_MODE_IT;
  EXTI_InitStruct.Trigger = LL_EXTI_TRIGGER_RISING;
  LL_EXTI_Init(&EXTI_InitStruct);

  /**/
  EXTI_InitStruct.Line_0_31 = LL_EXTI_LINE_2;
  EXTI_InitStruct.Line_32_63 = LL_EXTI_LINE_NONE;
  EXTI_InitStruct.LineCommand = ENABLE;
  EXTI_InitStruct.Mode = LL_EXTI_MODE_IT;
  EXTI_InitStruct.Trigger = LL_EXTI_TRIGGER_RISING;
  LL_EXTI_Init(&EXTI_InitStruct);

  /**/
  EXTI_InitStruct.Line_0_31 = LL_EXTI_LINE_1;
  EXTI_InitStruct.Line_32_63 = LL_EXTI_LINE_NONE;
  EXTI_InitStruct.LineCommand = ENABLE;
  EXTI_InitStruct.Mode = LL_EXTI_MODE_IT;
  EXTI_InitStruct.Trigger = LL_EXTI_TRIGGER_RISING;
  LL_EXTI_Init(&EXTI_InitStruct);

  /**/
  LL_GPIO_SetPinPull(USB_OTG_FS_OVRCR_EXTI3_GPIO_Port, USB_OTG_FS_OVRCR_EXTI3_Pin, LL_GPIO_PULL_NO);

  /**/
  LL_GPIO_SetPinPull(SPSGRF_915_GPIO3_EXTI5_GPIO_Port, SPSGRF_915_GPIO3_EXTI5_Pin, LL_GPIO_PULL_NO);

  /**/
  LL_GPIO_SetPinPull(SPBTLE_RF_IRQ_EXTI6_GPIO_Port, SPBTLE_RF_IRQ_EXTI6_Pin, LL_GPIO_PULL_NO);

  /**/
  LL_GPIO_SetPinPull(BUTTON_EXTI13_GPIO_Port, BUTTON_EXTI13_Pin, LL_GPIO_PULL_NO);

  /**/
  LL_GPIO_SetPinPull(ARD_D3_GPIO_Port, ARD_D3_Pin, LL_GPIO_PULL_NO);

  /**/
  LL_GPIO_SetPinPull(LPS22HB_INT_DRDY_EXTI0_GPIO_Port, LPS22HB_INT_DRDY_EXTI0_Pin, LL_GPIO_PULL_NO);

  /**/
  LL_GPIO_SetPinPull(LSM6DSL_INT1_EXTI11_GPIO_Port, LSM6DSL_INT1_EXTI11_Pin, LL_GPIO_PULL_NO);

  /**/
  LL_GPIO_SetPinPull(ARD_D2_GPIO_Port, ARD_D2_Pin, LL_GPIO_PULL_NO);

  /**/
  LL_GPIO_SetPinPull(HTS221_DRDY_EXTI15_GPIO_Port, HTS221_DRDY_EXTI15_Pin, LL_GPIO_PULL_NO);

  /**/
  LL_GPIO_SetPinPull(VL53L0X_GPIO1_EXTI7_GPIO_Port, VL53L0X_GPIO1_EXTI7_Pin, LL_GPIO_PULL_NO);

  /**/
  LL_GPIO_SetPinPull(LSM3MDL_DRDY_EXTI8_GPIO_Port, LSM3MDL_DRDY_EXTI8_Pin, LL_GPIO_PULL_NO);

  /**/
  LL_GPIO_SetPinPull(PMOD_IRQ_EXTI12_GPIO_Port, PMOD_IRQ_EXTI12_Pin, LL_GPIO_PULL_NO);

  /**/
  LL_GPIO_SetPinPull(ISM43362_DRDY_EXTI1_GPIO_Port, ISM43362_DRDY_EXTI1_Pin, LL_GPIO_PULL_NO);

  /**/
  LL_GPIO_SetPinMode(USB_OTG_FS_OVRCR_EXTI3_GPIO_Port, USB_OTG_FS_OVRCR_EXTI3_Pin, LL_GPIO_MODE_INPUT);

  /**/
  LL_GPIO_SetPinMode(SPSGRF_915_GPIO3_EXTI5_GPIO_Port, SPSGRF_915_GPIO3_EXTI5_Pin, LL_GPIO_MODE_INPUT);

  /**/
  LL_GPIO_SetPinMode(SPBTLE_RF_IRQ_EXTI6_GPIO_Port, SPBTLE_RF_IRQ_EXTI6_Pin, LL_GPIO_MODE_INPUT);

  /**/
  LL_GPIO_SetPinMode(BUTTON_EXTI13_GPIO_Port, BUTTON_EXTI13_Pin, LL_GPIO_MODE_INPUT);

  /**/
  LL_GPIO_SetPinMode(ARD_D3_GPIO_Port, ARD_D3_Pin, LL_GPIO_MODE_INPUT);

  /**/
  LL_GPIO_SetPinMode(LPS22HB_INT_DRDY_EXTI0_GPIO_Port, LPS22HB_INT_DRDY_EXTI0_Pin, LL_GPIO_MODE_INPUT);

  /**/
  LL_GPIO_SetPinMode(LSM6DSL_INT1_EXTI11_GPIO_Port, LSM6DSL_INT1_EXTI11_Pin, LL_GPIO_MODE_INPUT);

  /**/
  LL_GPIO_SetPinMode(ARD_D2_GPIO_Port, ARD_D2_Pin, LL_GPIO_MODE_INPUT);

  /**/
  LL_GPIO_SetPinMode(HTS221_DRDY_EXTI15_GPIO_Port, HTS221_DRDY_EXTI15_Pin, LL_GPIO_MODE_INPUT);

  /**/
  LL_GPIO_SetPinMode(VL53L0X_GPIO1_EXTI7_GPIO_Port, VL53L0X_GPIO1_EXTI7_Pin, LL_GPIO_MODE_INPUT);

  /**/
  LL_GPIO_SetPinMode(LSM3MDL_DRDY_EXTI8_GPIO_Port, LSM3MDL_DRDY_EXTI8_Pin, LL_GPIO_MODE_INPUT);

  /**/
  LL_GPIO_SetPinMode(PMOD_IRQ_EXTI12_GPIO_Port, PMOD_IRQ_EXTI12_Pin, LL_GPIO_MODE_INPUT);

  /**/
  LL_GPIO_SetPinMode(ISM43362_DRDY_EXTI1_GPIO_Port, ISM43362_DRDY_EXTI1_Pin, LL_GPIO_MODE_INPUT);

  /**/
  LL_GPIO_EnablePinAnalogControl(GPIOC, ARD_A5_Pin|ARD_A4_Pin|ARD_A3_Pin|ARD_A2_Pin
                          |ARD_A1_Pin|ARD_A0_Pin);

  /* EXTI interrupt init*/
  NVIC_SetPriority(EXTI9_5_IRQn, NVIC_EncodePriority(NVIC_GetPriorityGrouping(),0, 0));
  NVIC_EnableIRQ(EXTI9_5_IRQn);
  NVIC_SetPriority(EXTI15_10_IRQn, NVIC_EncodePriority(NVIC_GetPriorityGrouping(),0, 0));
  NVIC_EnableIRQ(EXTI15_10_IRQn);

}

void Error_Handler(void)
{
  __disable_irq();
  while (1)
  {
  }
}
